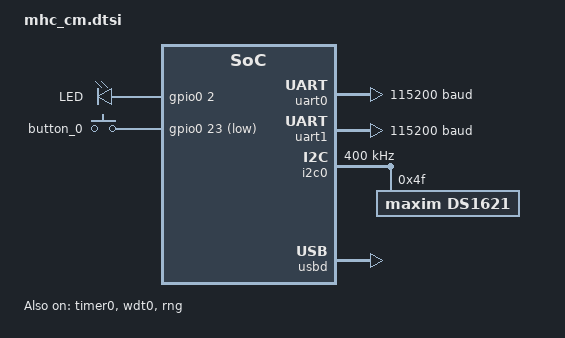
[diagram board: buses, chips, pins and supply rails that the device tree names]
/*
 * Copyright (c) 2026 MASSDRIVER EI (massdriver.space)
 *
 * SPDX-License-Identifier: Apache-2.0
 */

#include <freq.h>

#include <zephyr/dt-bindings/i2c/i2c.h>
#include <zephyr/dt-bindings/pwm/pwm.h>
#include <zephyr/dt-bindings/input/input-event-codes.h>

#include "mhc_cm-pinctrl.dtsi"

/ {
	chosen {
		zephyr,sram = &sram0;
		zephyr,flash = &flash0;
		zephyr,flash-controller = &qmi;
		zephyr,console = &uart0;
		zephyr,shell-uart = &uart0;
		zephyr,uart-mcumgr = &uart0;
	};

	aliases {
		watchdog0 = &wdt0;
	};

	leds {
		compatible = "gpio-leds";

		led0: led_0 {
			gpios = <&gpio0 2 GPIO_ACTIVE_HIGH>;
			label = "LED";
		};
	};

	pwm_leds {
		compatible = "pwm-leds";
		status = "disabled";

		pwm_led0: pwm_led_0 {
			pwms = <&pwm 9 PWM_MSEC(20) PWM_POLARITY_NORMAL>;
			label = "PWM_LED";
		};
	};

	buttons {
		compatible = "gpio-keys";

		button_0: sw0 {
			gpios = <&gpio0 23 GPIO_ACTIVE_LOW>;
			zephyr,code = <INPUT_KEY_0>;
		};
	};

	aliases {
		led0 = &led0;
		pwm-led0 = &pwm_led0;
		sw0 = &button_0;
	};
};

&flash0 {
	reg = <0x10000000 DT_SIZE_M(2)>;
};

&uart0 {
	current-speed = <115200>;
	status = "okay";
	pinctrl-0 = <&uart0_default>;
	pinctrl-names = "default";
};

&uart1 {
	current-speed = <115200>;
	status = "okay";
	pinctrl-0 = <&uart1_rs485>;
	pinctrl-names = "default";
};

gpio0_lo: &gpio0 {
	status = "okay";
};

&i2c0 {
	clock-frequency = <I2C_BITRATE_FAST>;
	pinctrl-0 = <&i2c0_default>;
	pinctrl-names = "default";
	status = "okay";

	ds1621@4F {
		status = "okay";
		compatible = "maxim,ds1621";
		reg = <0x4F>;
	};
};

&timer0 {
	status = "okay";
};

&wdt0 {
	status = "okay";
};

&rng {
	status = "okay";
};

zephyr_udc0: &usbd {
	status = "okay";
};
